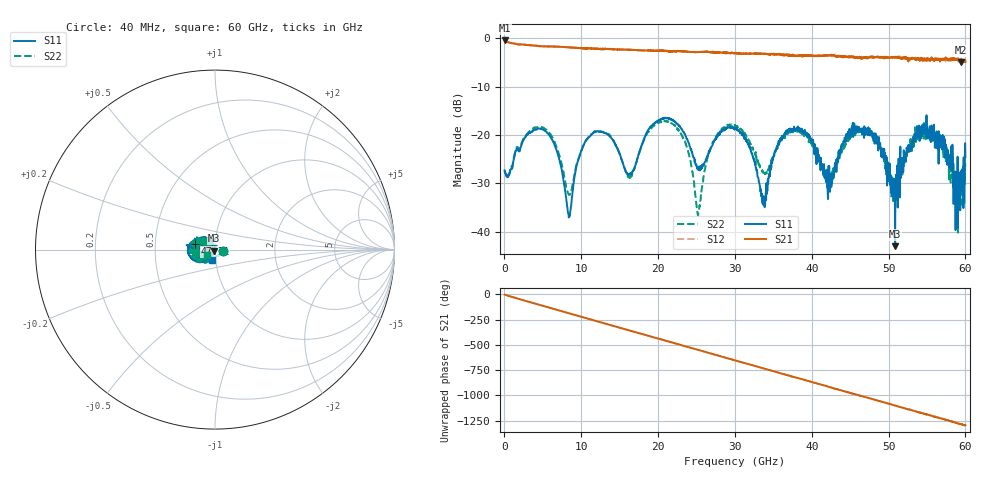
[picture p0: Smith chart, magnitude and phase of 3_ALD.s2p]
! File created by 'SoftPlot +Plus+ Measurement Management Software'
! SoftPlot +Plus+ Measurement Management Software
! Start 40.000000 MHz  Stop 60.000000 GHz  Points 1601
# MHZ S RI R 50
! S-Parameter data, F S11 S21 S12 S22
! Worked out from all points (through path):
!   1601 points, 40 MHz to 60 GHz, reference 50 ohm
!   highest |S21| = -0.42 dB at 40 MHz (marker M1); lowest = -4.9 dB at 59.4 GHz (marker M2)
!   group delay of S21, straight-line fit = 59.9 ps
!   lowest |S11| = -43.0 dB at 50.86 GHz (marker M3), VSWR 1.01, Z = 49.6 - j0.573 ohm
!   |S11| at or under -10 dB: start of sweep to end of sweep
!   |S22| runs from -40.2 to -17.0 dB; largest |S21 - S12| = 0.07
!   S11 on the Smith chart (normalised r, x): 40 MHz: 1.09, -0.02; 47.11 GHz: 0.80, +0.05; 60 GHz: 0.96, -0.11
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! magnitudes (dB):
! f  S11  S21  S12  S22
! 40 MHz  -27.3  -0.4  -0.4  -27.3
! 5.174 GHz  -19.0  -1.6  -1.6  -18.6
! 8.434 GHz  -36.6  -1.8  -1.8  -32.3
! 10.05 GHz  -23.2  -2.1  -2.0  -23.1
! 13.42 GHz  -19.8  -2.2  -2.2  -19.7
! 16.34 GHz  -27.9  -2.3  -2.4  -28.7
! 20.05 GHz  -17.0  -2.6  -2.5  -17.4
! 23.27 GHz  -19.3  -2.7  -2.7  -20.7
! 25.22 GHz  -26.8  -2.8  -2.8  -36.6
! 27.1 GHz  -22.1  -2.9  -2.8  -21.8
! 30.02 GHz  -18.6  -3.0  -3.0  -18.0
! 33.77 GHz  -34.0  -3.2  -3.2  -27.9
! 36.43 GHz  -19.8  -3.4  -3.3  -20.5
! 40.03 GHz  -21.0  -3.5  -3.6  -21.7
! 42.31 GHz  -28.9  -3.5  -3.6  -29.9
! 44.6 GHz  -19.9  -3.8  -3.8  -21.3
! 47.11 GHz  -18.6  -3.9  -4.2  -19.0
! 50.03 GHz  -28.5  -4.0  -3.9  -27.8
! 50.86 GHz  -43.0  -4.0  -3.7  -29.5
! 54.64 GHz  -19.6  -4.1  -4.4  -20.3
! 59.4 GHz  -27.4  -4.9  -4.5  -33.2
! 60 GHz  -24.6  -4.8  -4.4  -25.6
